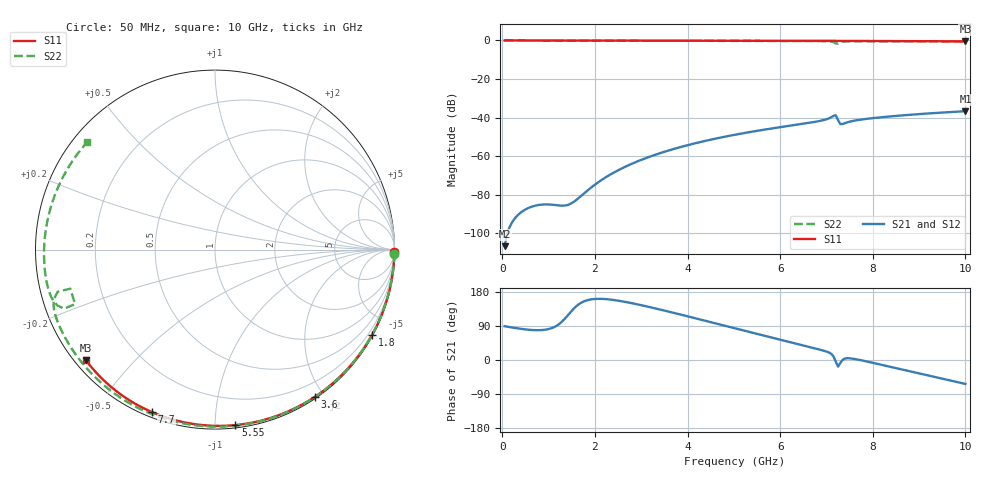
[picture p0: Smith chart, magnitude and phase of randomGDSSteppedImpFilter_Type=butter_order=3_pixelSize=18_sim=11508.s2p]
! freq	dB(S11)	phase(S11)	dB(S12)	phase(S12)
!  dB(S21)	phase(S21)	dB(S22)	phase(S22)
!S-par simulation data
#  GHz  S  DB  R 50
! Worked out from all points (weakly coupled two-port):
!   200 points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, 50 MHz to 10 GHz, reference 50 ohm
!   highest |S21| = -36.65 dB at 10 GHz (marker M1); lowest = -106.6 dB at 50 MHz (marker M2)
!   lowest |S11| = -0.5 dB at 10 GHz (marker M3), VSWR 36.88, Z = 1.54 - j18.4 ohm
!   |S11| at or under -10 dB: nowhere
!   |S22| runs from -1.6 to 0.0 dB; largest |S21 - S12| = 0
!   S11 on the Smith chart (normalised r, x): 50 MHz: open; 1.8 GHz: 0.03, -3.92; 3.6 GHz: 0.02, -1.88; 5.55 GHz: 0.02, -1.12; 7.7 GHz: 0.02, -0.68; 10 GHz: 0.03, -0.37
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0.05  -0.00 -0.8  -106.57 89.2  -106.57 89.2  -0.00 -1.3
0.85  -0.02 -13.6  -85.04 79.0  -85.04 79.0  -0.03 -22.0
1.75  -0.04 -27.9  -79.56 154.0  -79.56 154.0  -0.06 -44.7
1.8  -0.04 -28.6  -78.54 156.4  -78.54 156.4  -0.06 -45.9
2.15  -0.04 -34.1  -72.18 161.3  -72.18 161.3  -0.07 -54.4
2.5  -0.05 -39.4  -67.26 156.7  -67.26 156.7  -0.08 -62.8
2.9  -0.06 -45.5  -62.83 147.3  -62.83 147.3  -0.09 -72.1
3.4  -0.07 -53.0  -58.43 133.4  -58.43 133.4  -0.11 -83.5
3.6  -0.08 -55.9  -56.93 127.5  -56.93 127.5  -0.12 -87.9
4.3  -0.09 -66.0  -52.48 106.1  -52.48 106.1  -0.14 -103.1
5.05  -0.12 -76.6  -48.73 82.9  -48.73 82.9  -0.18 -118.7
5.55  -0.14 -83.4  -46.62 67.4  -46.62 67.4  -0.20 -128.8
6.7  -0.19 -98.6  -42.39 32.3  -42.39 32.3  -0.29 -152.3
7.1  -0.21 -103.7  -39.81 16.5  -39.81 16.5  -0.55 -162.9
7.2  -0.22 -105.0  -38.75 -4.2  -38.75 -4.2  -1.56 -164.9
7.25  -0.22 -105.6  -41.23 -17.3  -41.23 -17.3  -1.55 -158.7
7.3  -0.23 -106.3  -43.33 -7.8  -43.33 -7.8  -0.88 -158.6
7.45  -0.24 -108.2  -42.40 4.7  -42.40 4.7  -0.45 -163.8
7.7  -0.25 -111.3  -41.15 0.6  -41.15 0.6  -0.40 -169.9
8.35  -0.31 -119.4  -39.41 -17.3  -39.41 -17.3  -0.44 176.2
9.2  -0.38 -129.8  -37.82 -41.3  -37.82 -41.3  -0.53 158.0
10  -0.47 -139.5  -36.65 -63.1  -36.65 -63.1  -0.63 139.9
